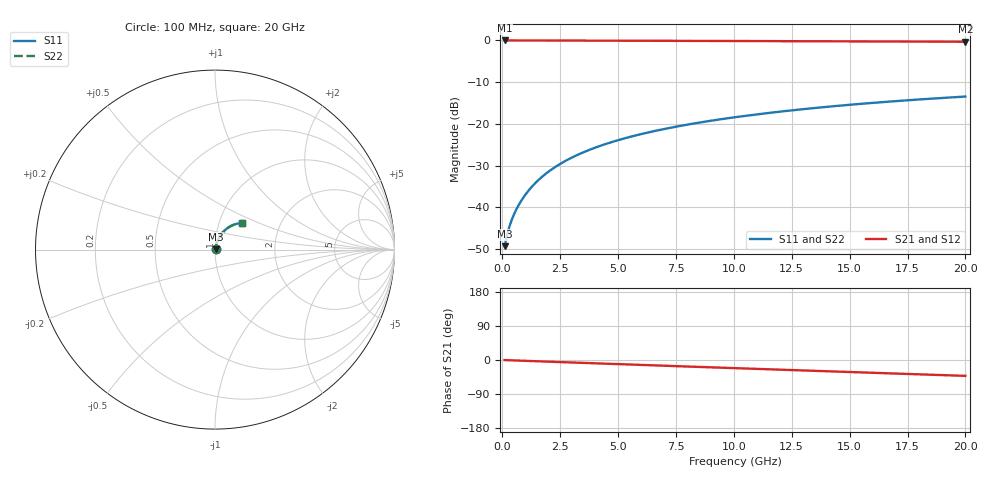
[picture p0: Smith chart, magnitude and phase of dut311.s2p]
! Touchstone file exported from HFSS 2026.1.0
!  File:  C:/ffzhzh/LocalFiles/Ansys_Project_Files/temp_train_BSMRDL_311_1783010657_46388.aedt
!  Generated:  12:45:37 AM Jul  3, 2026
!  Design:  BSMRDL
!  Project:  temp_train_BSMRDL_311_1783010657_46388
! Variables:
!  h_bsmrdl = 4.28um
!  h_ox = 20um
!  h_rdl = 5um
!  h_sub = 80um
!  h_tmrdl = 5um
!  h_tsv = 80um
!  h_via = 3um
!  l_bsmrdl = 709.6um
!  l_sub = 1109.6um
!  l_tmrdl = 200um
!  m_sub = 200um
!  pitch = 32.36um
!  r_tsv = 6um
!  s_tmrdl = 10um
!  w_bsmrdl = 21.34um
!  w_sub = 500um
!  w_tmrdl = 12um
!  x_tsv_center1 = 206um
!  x_tsv_center2 = 936.94um
!  x_tsv_center3 = 1148.94um
!  x_tsv_center4 = 1879.88um
!  x_tsv_center5 = 2091.88um
!  x_tsv_center6 = 2822.82um
# GHz S MA R 50.000000
! Terminal data exported
! Port[1] = BSM_RDL1_1_T1
! Port[2] = BSM_RDL1_1_T2
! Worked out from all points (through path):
!   200 points, 100 MHz to 20 GHz, reference 50 ohm
!   highest |S21| = -0.03 dB at 100 MHz (marker M1); lowest = -0.3 dB at 20 GHz (marker M2)
!   group delay of S21, straight-line fit = 5.8 ps
!   lowest |S11| = -49.3 dB at 100 MHz (marker M3), VSWR 1.01, Z = 50.3 + j0.169 ohm
!   |S11| at or under -10 dB: start of sweep to end of sweep
!   |S22| runs from -49.3 to -13.5 dB; largest |S21 - S12| = 5.1e-15
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0.1  0.003417 29.4  0.997 -0.2  0.997 -0.2  0.003417 29.4
! Gamma 0 0 0 0
! Port Impedance 50 0 50 0
0.2  0.004561 44.6  0.9968 -0.5  0.9968 -0.5  0.004561 44.6
0.3  0.005783 52.4  0.9965 -0.7  0.9965 -0.7  0.005785 52.4
0.4  0.006979 57.3  0.9963 -0.9  0.9963 -0.9  0.006983 57.3
0.5  0.00816 60.8  0.9962 -1.1  0.9962 -1.1  0.008165 60.8
0.6  0.009342 63.6  0.9961 -1.4  0.9961 -1.4  0.009347 63.6
0.8  0.01174 67.7  0.9959 -1.8  0.9959 -1.8  0.01174 67.7
1  0.01418 70.4  0.9958 -2.2  0.9958 -2.2  0.01419 70.3
1.2  0.01667 72.2  0.9956 -2.7  0.9956 -2.7  0.01667 72.2
1.4  0.01917 73.4  0.9955 -3.1  0.9955 -3.1  0.01918 73.4
1.7  0.02296 74.6  0.9952 -3.8  0.9952 -3.8  0.02296 74.6
2.2  0.02928 75.4  0.9947 -4.8  0.9947 -4.8  0.02928 75.4
2.8  0.03683 75.4  0.994 -6.2  0.994 -6.2  0.03683 75.4
3.5  0.04552 74.8  0.993 -7.7  0.993 -7.7  0.04552 74.8
4.2  0.05407 73.8  0.992 -9.2  0.992 -9.2  0.05407 73.8
5  0.06365 72.5  0.9907 -10.9  0.9907 -10.9  0.06365 72.5
6.8  0.08447 69.3  0.9876 -14.7  0.9876 -14.7  0.08447 69.3
8.3  0.1011 66.5  0.9849 -17.9  0.9849 -17.9  0.1011 66.5
10.1  0.1204 63.2  0.9816 -21.6  0.9816 -21.6  0.1204 63.1
13.4  0.1538 56.9  0.9754 -28.5  0.9754 -28.5  0.1538 56.8
16.7  0.1844 50.6  0.9689 -35.2  0.9689 -35.2  0.1845 50.5
20  0.2121 44.4  0.9624 -41.9  0.9624 -41.9  0.2121 44.2
